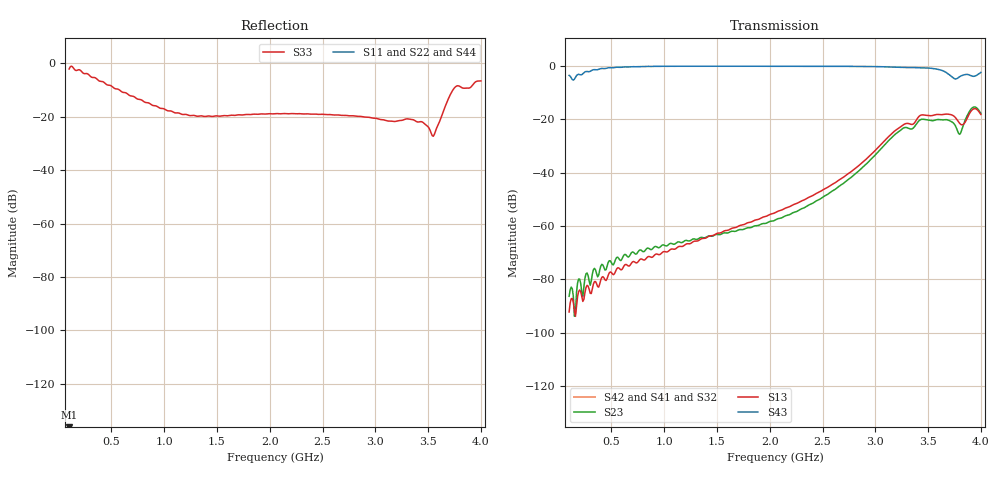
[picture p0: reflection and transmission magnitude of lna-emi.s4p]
! agentee FDTD lna-emi
! ports IN AMP_IN AMP_OUT OUT
# Hz S RI R 50
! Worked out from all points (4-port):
!   391 points, 100 MHz to 4 GHz, reference 50 ohm
!   strongest paths, dB at 100 MHz, 1.07 GHz, 2.05 GHz, 3.03 GHz, 4 GHz:
!     S43: -3.6, -0.2, -0.2, -0.3, -2.5
!     S13: -92.2, -68.6, -55.1, -30.4, -18.2
!     S23: -86.4, -66.6, -57.8, -32.1, -17.8
!     S42: -, -, -, -, -
!     S41: -, -, -, -, -
!     S32: -, -, -, -, -
!   lowest |S11| = - dB at 100 MHz (marker M1), VSWR 1.00, Z = 50 + j0 ohm
!   |S11| at or under -10 dB: start of sweep to end of sweep
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1e8  0 0  0 0  2.41e-05 -3.86e-06  0 0
     0 0  0 0  -4.78e-05 -5.23e-06  0 0
     0 0  0 0  -0.7834 0.0475  0 0
     0 0  0 0  0.0826 0.6536  0 0
2.1e8  0 0  0 0  -9.36e-06 -5.8e-05  0 0
       0 0  0 0  1e-05 8.3e-05  0 0
       0 0  0 0  -0.5422 0.4931  0 0
       0 0  0 0  0.4687 0.4857  0 0
8.4e8  0 0  0 0  -7.4e-05 -0.000248  0 0
       0 0  0 0  0.00014 0.000357  0 0
       0 0  0 0  -0.0212 0.1828  0 0
       0 0  0 0  0.9348 -0.266  0 0
2.28e9  0 0  0 0  -0.00278 -0.000331  0 0
        0 0  0 0  0.00138 -0.00144  0 0
        0 0  0 0  0.00324 0.1144  0 0
        0 0  0 0  0.0827 -0.9727  0 0
3.55e9  0 0  0 0  0.0884 -0.0778  0 0
        0 0  0 0  0.0707 0.0616  0 0
        0 0  0 0  0.0386 0.0196  0 0
        0 0  0 0  -0.7624 -0.4478  0 0
3.75e9  0 0  0 0  -0.0414 -0.1035  0 0
        0 0  0 0  0.0685 -0.0414  0 0
        0 0  0 0  0.2934 0.189  0 0
        0 0  0 0  -0.5167 -0.2401  0 0
4e9  0 0  0 0  -0.1209 0.0187  0 0
     0 0  0 0  -0.0589 -0.1139  0 0
     0 0  0 0  0.4046 -0.2394  0 0
     0 0  0 0  -0.5958 -0.4538  0 0
